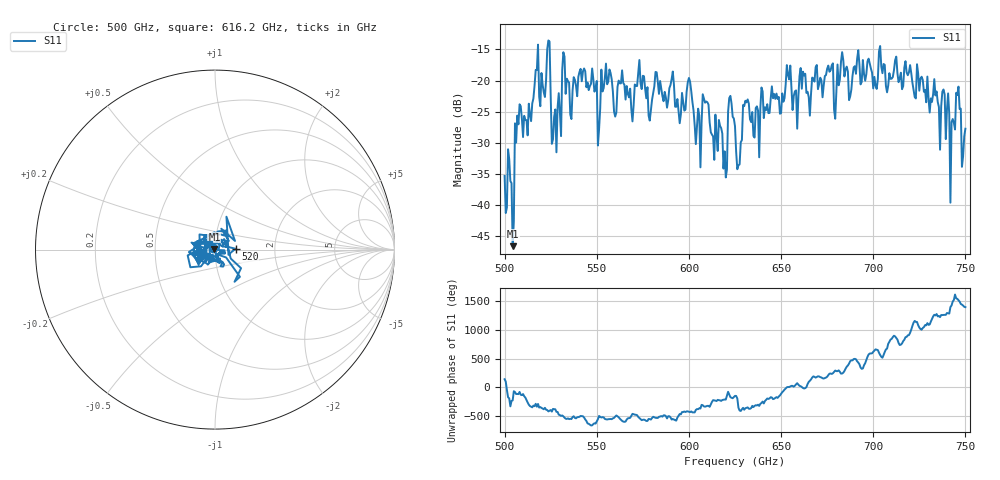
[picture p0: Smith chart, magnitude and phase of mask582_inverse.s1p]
!Created with skrf (http://scikit-rf.org).
# GHz S MA R 50.0
!freq magS11 angS11
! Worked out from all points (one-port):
!   401 points, 500 GHz to 750 GHz, reference 50 ohm
!   lowest |S11| = -46.6 dB at 504.4 GHz (marker M1), VSWR 1.01, Z = 49.7 + j0.34 ohm
!   |S11| at or under -10 dB: start of sweep to end of sweep
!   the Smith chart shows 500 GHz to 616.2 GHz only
!   S11 on the Smith chart (normalised r, x): 500 GHz: 0.97, +0.02; 520 GHz: 1.26, +0.01; 616.2 GHz: 0.93, +0.06
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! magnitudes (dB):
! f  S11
! 500 GHz  -35.3
! 504.4 GHz  -46.6
! 508.1 GHz  -23.8
! 520 GHz  -18.8
! 523.8 GHz  -13.6
! 526.9 GHz  -25.8
! 531.2 GHz  -18.3
! 542.5 GHz  -18.5
! 550.6 GHz  -30.4
! 562.5 GHz  -20.4
! 579.4 GHz  -24.8
! 590.6 GHz  -19.8
! 593.8 GHz  -23.0
! 600 GHz  -19.6
! 605 GHz  -24.5
! 608.8 GHz  -23.5
! 616.2 GHz  -26.3
! 619.4 GHz  -31.3
! 622.5 GHz  -22.5
! 625 GHz  -27.3
! 627.5 GHz  -33.4
! 630.6 GHz  -23.2
! 656.2 GHz  -24.7
! 687.5 GHz  -22.5
! 718.8 GHz  -19.1
! 743.1 GHz  -26.2
! 746.2 GHz  -21.0
! 750 GHz  -27.7
